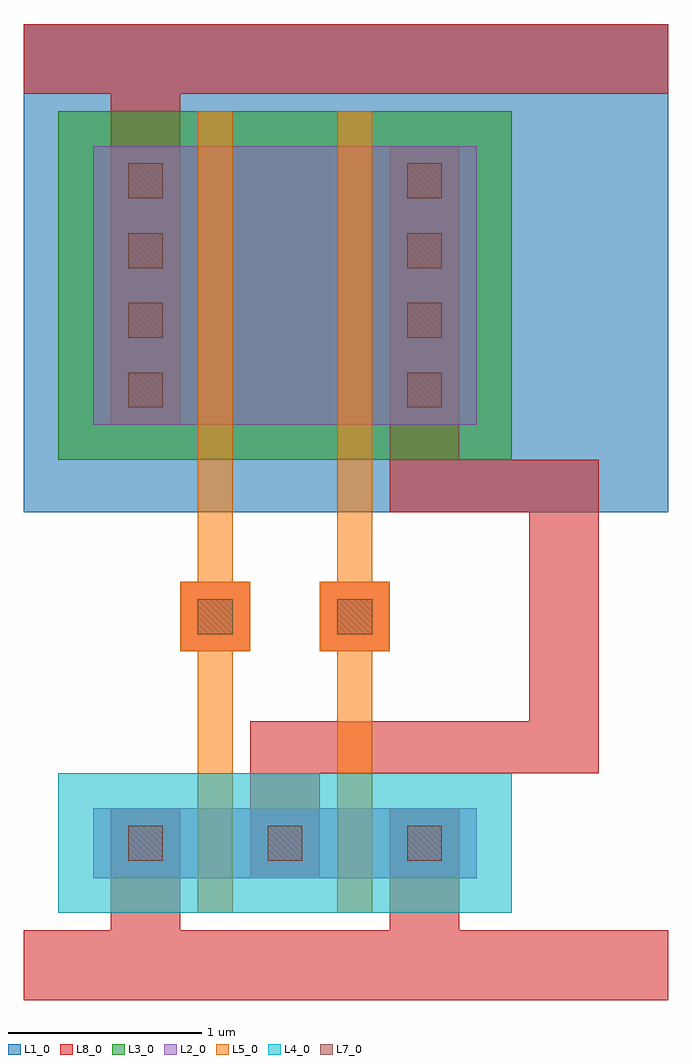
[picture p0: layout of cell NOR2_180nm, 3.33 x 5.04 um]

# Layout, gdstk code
import gdstk
lib = gdstk.Library(unit=1e-6, precision=1e-12)
def R(c, l, rs):  # rectangles x0, y0, x1, y1
    for r in rs: c.add(gdstk.rectangle(r[:2], r[2:], *l))
def A(c, l, x, y, w, h, nx, ny, dx, dy):  # array of equal rectangles
    R(c, l, [(x+i*dx, y+j*dy, x+i*dx+w, y+j*dy+h) for i in range(nx) for j in range(ny)])
L1_0 = (1, 0)
L2_0 = (2, 0)
L3_0 = (3, 0)
L4_0 = (4, 0)
L5_0 = (5, 0)
L7_0 = (7, 0)
L8_0 = (8, 0)

nor2_180nm = lib.new_cell('NOR2_180nm')
R(nor2_180nm, L1_0, [(0,2.52,3.33,5.04)])
A(nor2_180nm, L2_0, 0.36, 0.63, 0.54, 0.36, 3, 1, 0.72, 0)
A(nor2_180nm, L2_0, 0.36, 2.97, 0.54, 1.44, 3, 1, 0.72, 0)
R(nor2_180nm, L2_0, [(0.9,0.63,1.08,0.99), (1.62,0.63,1.8,0.99), (0.9,2.97,1.08,4.41), (1.62,2.97,1.8,4.41)])
R(nor2_180nm, L3_0, [(0.18,2.79,2.52,4.59)])
R(nor2_180nm, L4_0, [(0.18,0.45,2.52,1.17)])
R(nor2_180nm, L5_0, [(0.9,0.45,1.08,4.59), (1.62,0.45,1.8,4.59), (0.81,1.8,1.17,2.16), (1.53,1.8,1.89,2.16)])
A(nor2_180nm, L7_0, 0.54, 0.72, 0.18, 0.18, 3, 1, 0.72, 0)
A(nor2_180nm, L7_0, 0.54, 3.06, 0.18, 0.18, 1, 4, 0, 0.36)
A(nor2_180nm, L7_0, 1.98, 3.06, 0.18, 0.18, 1, 4, 0, 0.36)
R(nor2_180nm, L7_0, [(0.9,1.89,1.08,2.07), (1.62,1.89,1.8,2.07)])
R(nor2_180nm, L8_0, [(0,0,3.33,0.36), (0.45,0,0.81,0.99), (1.89,0,2.25,0.99), (1.17,0.63,1.53,1.44), (1.17,1.17,2.97,1.44), (2.61,1.17,2.97,2.79), (0.81,1.8,1.17,2.16), (1.53,1.8,1.89,2.16), (1.89,2.52,2.25,4.41), (1.89,2.52,2.97,2.79), (0.45,2.97,0.81,5.04), (0,4.68,3.33,5.04)])

lib.write_gds('NOR2_180nm.gds')
